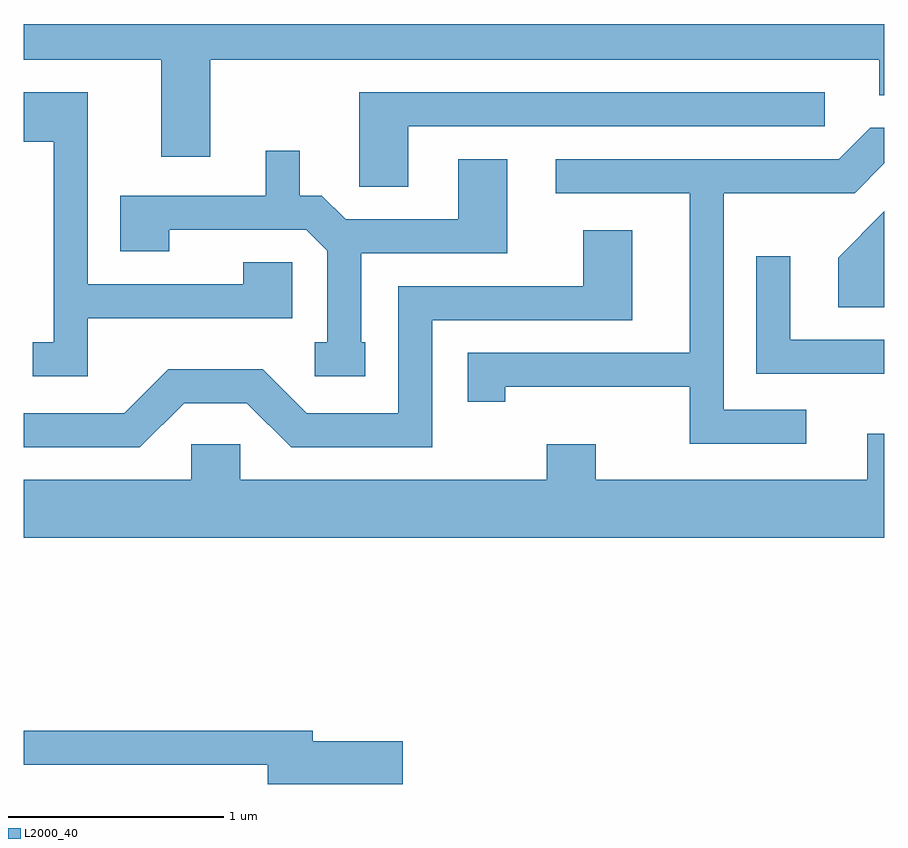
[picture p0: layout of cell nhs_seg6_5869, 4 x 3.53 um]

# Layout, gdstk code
import gdstk
lib = gdstk.Library(unit=1e-6, precision=1e-09)
def P(c, l, *ps):  # polygons
    for p in ps: c.add(gdstk.Polygon(p, *l))
L2000_40 = (2000, 40)

nhs_seg6_5869 = lib.new_cell('nhs_seg6_5869')
P(nhs_seg6_5869, L2000_40, [(364.479,1589.996),(367.586,1589.996),(367.586,1589.831),(367.611,1589.831),(367.611,1590.162),(363.611,1590.162),(363.611,1589.996),(364.251,1589.996),(364.251,1589.546),(364.479,1589.546)],
  [(365.399,1589.686),(367.333,1589.686),(367.333,1589.844),(365.171,1589.844),(365.171,1589.406),(365.399,1589.406)],
  [(363.909,1588.796),(364.859,1588.796),(364.859,1589.054),(364.631,1589.054),(364.631,1588.954),(363.909,1588.954),(363.909,1589.844),(363.611,1589.844),(363.611,1589.616),(363.751,1589.616),(363.751,1588.684),(363.653,1588.684),(363.653,1588.526),(363.909,1588.526)],
  [(367.248,1588.369),(366.864,1588.369),(366.864,1589.376),(367.472,1589.376),(367.611,1589.515),(367.611,1589.679),(367.544,1589.679),(367.399,1589.534),(366.083,1589.534),(366.083,1589.376),(366.706,1589.376),(366.706,1588.634),(365.676,1588.634),(365.676,1588.406),(365.849,1588.406),(365.849,1588.476),(366.706,1588.476),(366.706,1588.211),(367.248,1588.211)],
  [(365.199,1588.684),(365.179,1588.684),(365.179,1589.096),(365.859,1589.096),(365.859,1589.534),(365.631,1589.534),(365.631,1589.254),(365.107,1589.254),(364.997,1589.364),(364.894,1589.364),(364.894,1589.573),(364.736,1589.573),(364.736,1589.364),(364.061,1589.364),(364.061,1589.106),(364.289,1589.106),(364.289,1589.206),(364.924,1589.206),(365.021,1589.109),(365.021,1588.684),(364.963,1588.684),(364.963,1588.526),(365.199,1588.526)],
  [(367.611,1589.291),(367.396,1589.077),(367.396,1588.846),(367.611,1588.846)],
  [(364.357,1588.401),(364.649,1588.401),(364.854,1588.196),(365.509,1588.196),(365.509,1588.786),(366.439,1588.786),(366.439,1589.204),(366.211,1589.204),(366.211,1588.944),(365.351,1588.944),(365.351,1588.354),(364.927,1588.354),(364.722,1588.559),(364.284,1588.559),(364.079,1588.354),(363.611,1588.354),(363.611,1588.196),(364.152,1588.196)],
  [(367.611,1588.694),(367.174,1588.694),(367.174,1589.083),(367.016,1589.083),(367.016,1588.536),(367.611,1588.536)],
  [(367.611,1588.258),(367.531,1588.258),(367.531,1588.044),(366.269,1588.044),(366.269,1588.209),(366.041,1588.209),(366.041,1588.044),(364.619,1588.044),(364.619,1588.209),(364.391,1588.209),(364.391,1588.044),(363.611,1588.044),(363.611,1587.776),(367.611,1587.776)],
  [(365.374,1586.829),(364.954,1586.829),(364.954,1586.879),(363.611,1586.879),(363.611,1586.721),(364.746,1586.721),(364.746,1586.631),(365.374,1586.631)])

lib.write_gds('nhs_seg6_5869.gds')
